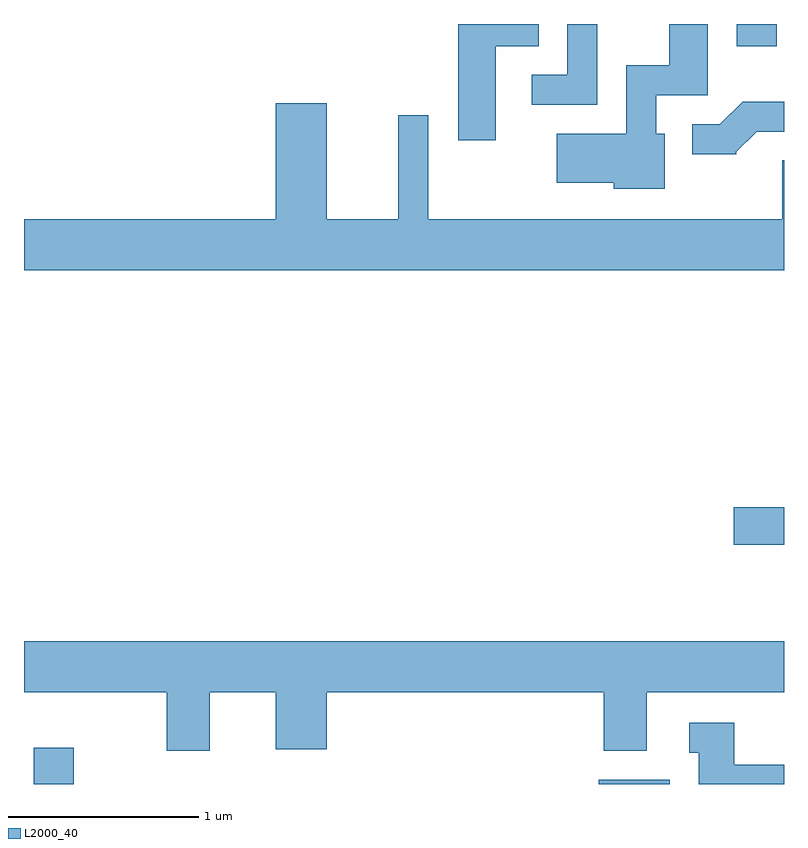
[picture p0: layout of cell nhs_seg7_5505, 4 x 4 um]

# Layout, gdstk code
import gdstk
lib = gdstk.Library(unit=1e-6, precision=1e-09)
def R(c, l, rs):  # rectangles x0, y0, x1, y1
    for r in rs: c.add(gdstk.rectangle(r[:2], r[2:], *l))
def P(c, l, *ps):  # polygons
    for p in ps: c.add(gdstk.Polygon(p, *l))
L2000_40 = (2000, 40)

nhs_seg7_5505 = lib.new_cell('nhs_seg7_5505')
R(nhs_seg7_5505, L2000_40, [(353.661,1738.252,353.874,1738.444), (356.636,1738.252,357.009,1738.274), (357.346,1739.511,357.611,1739.709), (357.361,1742.136,357.574,1742.252)])
P(nhs_seg7_5505, L2000_40, [(356.629,1742.252),(356.471,1742.252),(356.471,1741.984),(356.283,1741.984),(356.283,1741.826),(356.629,1741.826)],
  [(356.984,1741.674),(356.939,1741.674),(356.939,1741.876),(357.209,1741.876),(357.209,1742.252),(357.006,1742.252),(357.006,1742.034),(356.781,1742.034),(356.781,1741.674),(356.416,1741.674),(356.416,1741.416),(356.716,1741.416),(356.716,1741.386),(356.984,1741.386)],
  [(356.094,1742.136),(356.319,1742.136),(356.319,1742.252),(355.896,1742.252),(355.896,1741.641),(356.094,1741.641)],
  [(357.36,1741.58),(357.467,1741.686),(357.611,1741.686),(357.611,1741.844),(357.394,1741.844),(357.274,1741.724),(357.128,1741.724),(357.128,1741.566),(357.36,1741.566)],
  [(357.611,1741.534),(357.601,1741.534),(357.601,1741.224),(355.739,1741.224),(355.739,1741.773),(355.581,1741.773),(355.581,1741.224),(355.204,1741.224),(355.204,1741.834),(354.936,1741.834),(354.936,1741.224),(353.611,1741.224),(353.611,1740.956),(357.611,1740.956)],
  [(353.611,1738.736),(354.361,1738.736),(354.361,1738.426),(354.589,1738.426),(354.589,1738.736),(354.936,1738.736),(354.936,1738.436),(355.204,1738.436),(355.204,1738.736),(356.661,1738.736),(356.661,1738.426),(356.889,1738.426),(356.889,1738.736),(357.611,1738.736),(357.611,1739.004),(353.611,1739.004)],
  [(357.611,1738.354),(357.349,1738.354),(357.349,1738.574),(357.113,1738.574),(357.113,1738.416),(357.161,1738.416),(357.161,1738.252),(357.611,1738.252)])

lib.write_gds('nhs_seg7_5505.gds')
